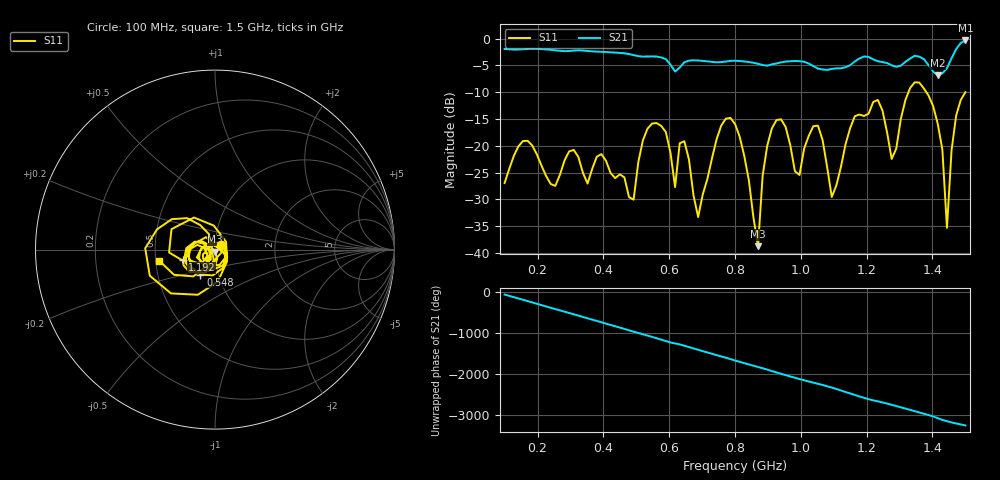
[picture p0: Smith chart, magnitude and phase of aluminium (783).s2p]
! NanoVNA-App
! Date: 2025-09-25 15:01:22
! Start: 100MHz Stop: 1,5GHz Points: 101
! S-Parameter data: F S11 S21 S12 S22
# Hz S RI R 50
!  Frequency  S11_Real  S11_Imag  S21_Real  S21_Imag  S12_Real  S12_Imag  S22_Real  S22_Imag
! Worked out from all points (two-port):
!   101 points, 100 MHz to 1.5 GHz, reference 50 ohm
!   highest |S21| = -0.33 dB at 1.5 GHz (marker M1); lowest = -6.9 dB at 1.416 GHz (marker M2)
!   |S21| within 3 dB of the highest: start of sweep to 517.3 MHz; 1.461 GHz to end of sweep (the widest 2 of 4)
!   lowest |S11| = -38.7 dB at 870 MHz (marker M3), VSWR 1.02, Z = 50 - j1.15 ohm
!   |S11| at or under -10 dB: start of sweep to 1.327 GHz; 1.381 GHz to 1.5 GHz (118.6 MHz wide, 8.23 % of centre)
!   S12 and S22 are empty: the file has one direction only
!   S11 on the Smith chart (normalised r, x): 100 MHz: 1.07, +0.06; 548 MHz: 0.82, -0.23; 1.192 GHz: 0.69, -0.08; 1.5 GHz: 0.52, -0.07
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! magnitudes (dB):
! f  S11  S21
! 100 MHz  -27.0  -1.9
! 156 MHz  -19.1  -2.0
! 338 MHz  -25.1  -2.2
! 492 MHz  -30.1  -3.1
! 548 MHz  -15.8  -3.3
! 576 MHz  -16.3  -3.5
! 618 MHz  -27.7  -6.1
! 646 MHz  -19.1  -4.4
! 688 MHz  -33.3  -4.1
! 800 MHz  -15.9  -4.1
! 870 MHz  -38.7  -4.7
! 912 MHz  -16.8  -4.8
! 996 MHz  -25.5  -4.2
! 1.038 GHz  -16.3  -5.1
! 1.094 GHz  -29.6  -5.7
! 1.192 GHz  -14.4  -3.3
! 1.276 GHz  -22.5  -5.0
! 1.346 GHz  -8.1  -3.2
! 1.416 GHz  -15.9  -6.9
! 1.444 GHz  -35.3  -5.5
! 1.472 GHz  -14.3  -1.9
! 1.5 GHz  -10.0  -0.3
